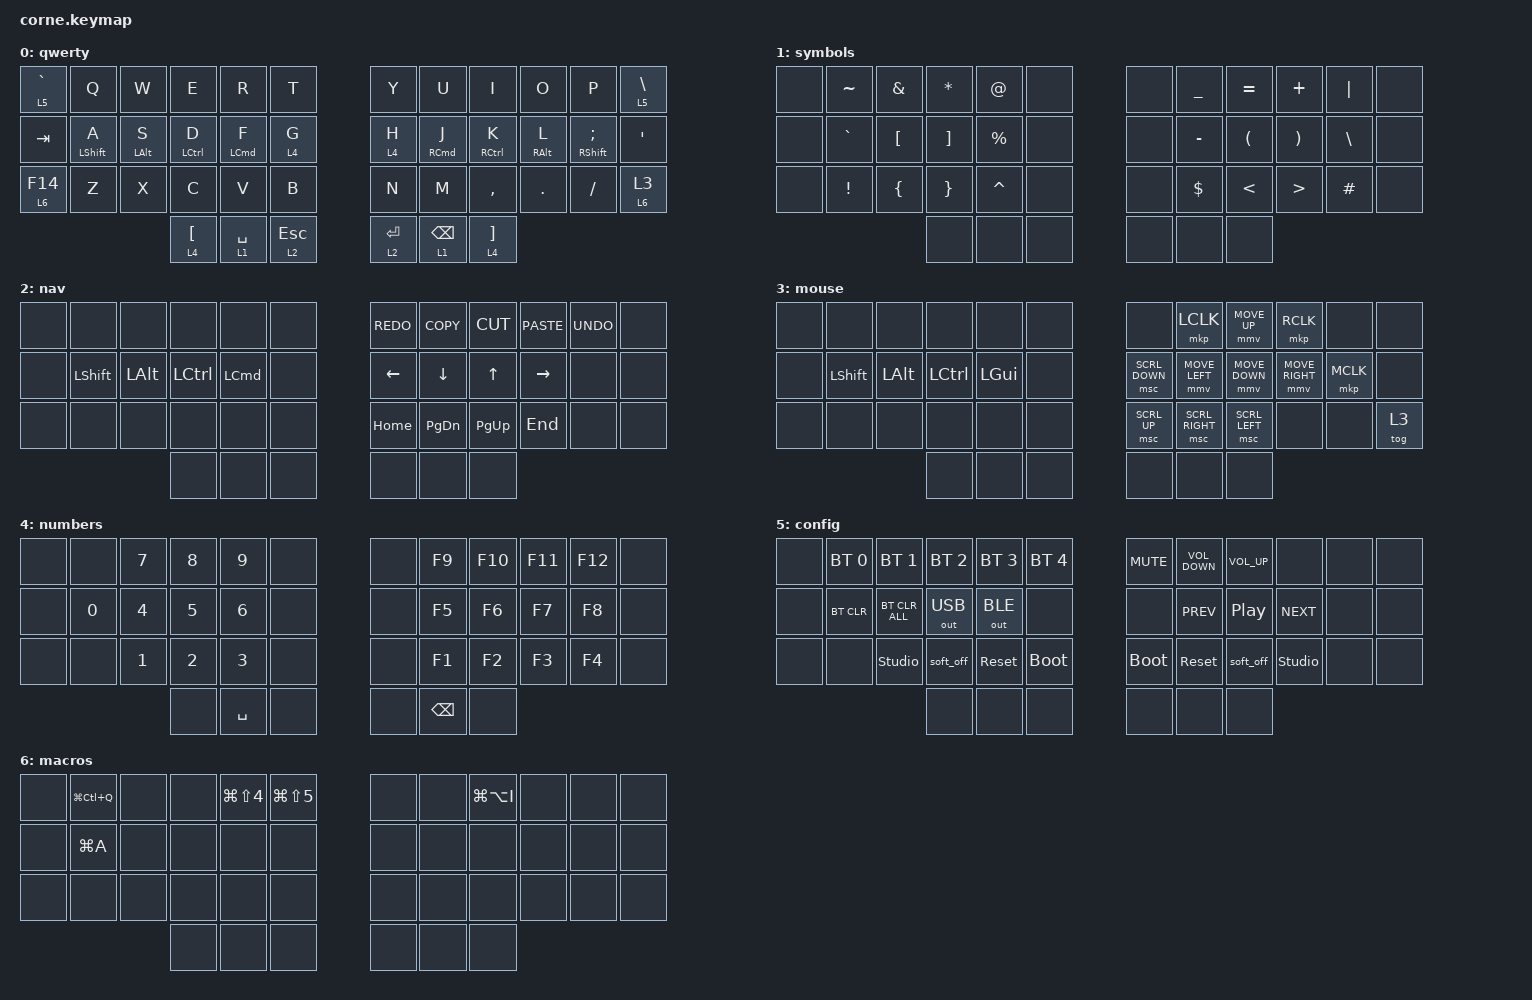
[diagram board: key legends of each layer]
#define ZMK_POINTING_DEFAULT_MOVE_VAL 1200  // 600
#define ZMK_POINTING_DEFAULT_SCRL_VAL 25   // 10

#include <input/processors.dtsi>
#include <behaviors.dtsi>
#include <dt-bindings/zmk/bt.h>
#include <dt-bindings/zmk/keys.h>
#include <dt-bindings/zmk/outputs.h>
#include <dt-bindings/zmk/pointing.h>

&mmv_input_listener { input-processors = <&zip_xy_scaler 2 1>; };

&msc_input_listener { input-processors = <&zip_scroll_scaler 2 1>; };

&msc {
    acceleration-exponent = <1>;      // 0
    time-to-max-speed-ms = <100>;       // 300
    delay-ms = <0>;                   // 0
};

&mmv {
    time-to-max-speed-ms = <500>;
    acceleration-exponent = <1>;
    trigger-period-ms = <16>;
};

&lt {
    tapping-term-ms = <175>;
    flavor = "balanced";
};

/ {
    combos {
        compatible = "zmk,combos";

        combo_caps_word {
            bindings = <&caps_word>;
            key-positions = <37 40>;
        };
    };

    behaviors {
        hm: homerow_mod {
            compatible = "zmk,behavior-hold-tap";
            display-name = "Homerow Mod";
            bindings = <&kp>, <&kp>;

            #binding-cells = <2>;
            tapping-term-ms = <200>;
            quick-tap-ms = <150>;
            require-prior-idle-ms = <100>;
            flavor = "tap-preferred";
        };

        hms: homerow_mod_shift {
            compatible = "zmk,behavior-hold-tap";
            display-name = "Homerow Mod Shift";
            bindings = <&kp>, <&kp>;

            #binding-cells = <2>;
            tapping-term-ms = <175>;
            quick-tap-ms = <150>;
            require-prior-idle-ms = <100>;
            flavor = "tap-preferred";
        };

        thl: toggle_hold_layer {
            compatible = "zmk,behavior-hold-tap";
            display-name = "Toggle Hold Layer";
            bindings = <&mo>, <&tog>;

            #binding-cells = <2>;
            tapping-term-ms = <200>;
            flavor = "tap-preferred";
        };

        thumb_lt: thumb_lt {
            compatible = "zmk,behavior-hold-tap";
            display-name = "Thumb Layer Tap";
            bindings = <&mo>, <&kp>;

            #binding-cells = <2>;
            tapping-term-ms = <200>;
            quick-tap-ms = <150>;
            require-prior-idle-ms = <100>;
            flavor = "tap-preferred";
        };

        index_lt: index_lt {
            compatible = "zmk,behavior-hold-tap";
            label = "Index Layer Tap";
            bindings = <&mo>, <&kp>;

            #binding-cells = <2>;
            tapping-term-ms = <200>;
            require-prior-idle-ms = <100>;
            flavor = "tap-preferred";
        };
    };

    keymap {
        compatible = "zmk,keymap";

        QWERTY {
            bindings = <
&lt 5 GRAVE  &kp Q              &kp W           &kp E                     &kp R               &kp T            &kp Y          &kp U                &kp I                      &kp O            &kp P                  &lt 5 BACKSLASH
&kp TAB      &hms LEFT_SHIFT A  &hm LEFT_ALT S  &hm LEFT_CONTROL D        &hm LEFT_COMMAND F  &index_lt 4 G    &index_lt 4 H  &hm RIGHT_COMMAND J  &hm RIGHT_CONTROL K        &hm RIGHT_ALT L  &hms RIGHT_SHIFT SEMI  &kp SINGLE_QUOTE
&lt 6 F14    &kp Z              &kp X           &kp C                     &kp V               &kp B            &kp N          &kp M                &kp COMMA                  &kp DOT          &kp FSLH               &thl 6 3
                                                &thumb_lt 4 LEFT_BRACKET  &lt 1 SPACE         &lt 2 ESCAPE     &lt 2 ENTER    &lt 1 BACKSPACE      &thumb_lt 4 RIGHT_BRACKET
            >;

            display-name = "qwerty";
        };

        Symbols {
            bindings = <
&none  &kp TILDE  &kp AMPERSAND   &kp ASTERISK     &kp AT       &none    &none  &kp UNDER   &kp EQUAL             &kp PLUS               &kp PIPE       &none
&none  &kp GRAVE  &kp LBKT        &kp RBKT         &kp PERCENT  &none    &none  &kp MINUS   &kp LEFT_PARENTHESIS  &kp RIGHT_PARENTHESIS  &kp BACKSLASH  &none
&none  &kp EXCL   &kp LEFT_BRACE  &kp RIGHT_BRACE  &kp CARET    &none    &none  &kp DOLLAR  &kp LESS_THAN         &kp GREATER_THAN       &kp HASH       &none
                                  &none            &none        &none    &none  &none       &none
            >;

            display-name = "symbols";
        };

        Nav {
            bindings = <
&none  &none           &none         &none             &none             &none    &kp K_REDO  &kp K_COPY      &kp K_CUT     &kp K_PASTE  &kp K_UNDO  &none
&none  &kp LEFT_SHIFT  &kp LEFT_ALT  &kp LEFT_CONTROL  &kp LEFT_COMMAND  &none    &kp LEFT    &kp DOWN_ARROW  &kp UP_ARROW  &kp RIGHT    &none       &none
&none  &none           &none         &none             &none             &none    &kp HOME    &kp PAGE_DOWN   &kp PAGE_UP   &kp END      &none       &none
                                     &none             &none             &none    &none       &none           &none
            >;

            display-name = "nav";
        };

        Mouse {
            bindings = <
&none  &none           &none     &none      &none     &none    &none           &mkp LCLK        &mmv MOVE_UP    &mkp RCLK        &none      &none
&none  &kp LEFT_SHIFT  &kp LALT  &kp LCTRL  &kp LGUI  &none    &msc SCRL_DOWN  &mmv MOVE_LEFT   &mmv MOVE_DOWN  &mmv MOVE_RIGHT  &mkp MCLK  &none
&none  &none           &none     &none      &none     &none    &msc SCRL_UP    &msc SCRL_RIGHT  &msc SCRL_LEFT  &none            &none      &tog 3
                                 &none      &none     &none    &none           &none            &none
            >;

            display-name = "mouse";
        };

        Numbers {
            bindings = <
&none  &none   &kp N7  &kp N8  &kp N9     &none    &none  &kp F9         &kp F10  &kp F11  &kp F12  &none
&none  &kp N0  &kp N4  &kp N5  &kp N6     &none    &none  &kp F5         &kp F6   &kp F7   &kp F8   &none
&none  &none   &kp N1  &kp N2  &kp N3     &none    &none  &kp F1         &kp F2   &kp F3   &kp F4   &none
                       &none   &kp SPACE  &none    &none  &kp BACKSPACE  &none
            >;

            display-name = "numbers";
        };

        Config {
            bindings = <
&none  &bt BT_SEL 0  &bt BT_SEL 1    &bt BT_SEL 2  &bt BT_SEL 3  &bt BT_SEL 4    &kp C_MUTE   &kp C_VOLUME_DOWN  &kp C_VOLUME_UP  &none           &none  &none
&none  &bt BT_CLR    &bt BT_CLR_ALL  &out OUT_USB  &out OUT_BLE  &none           &none        &kp C_PREV         &kp C_PP         &kp C_NEXT      &none  &none
&none  &none         &studio_unlock  &soft_off     &sys_reset    &bootloader     &bootloader  &sys_reset         &soft_off        &studio_unlock  &none  &none
                                     &none         &none         &none           &none        &none              &none
            >;

            display-name = "config";
        };

        Macros {
            bindings = <
&none  &kp LG(LC(Q))  &none  &none  &kp LG(LS(NUMBER_4))  &kp LG(LS(N5))    &none  &none  &kp LG(LA(I))  &none  &none  &none
&none  &kp LG(A)      &none  &none  &none                 &none             &none  &none  &none          &none  &none  &none
&none  &none          &none  &none  &none                 &none             &none  &none  &none          &none  &none  &none
                             &none  &none                 &none             &none  &none  &none
            >;

            display-name = "macros";
        };
    };
};
